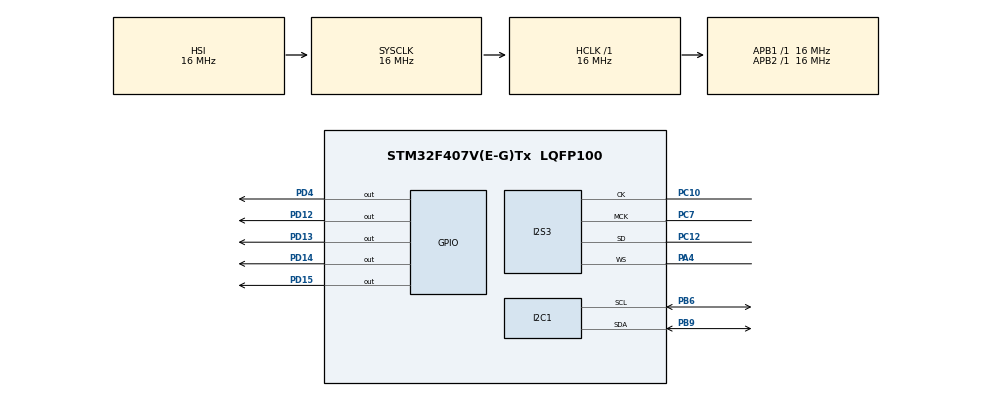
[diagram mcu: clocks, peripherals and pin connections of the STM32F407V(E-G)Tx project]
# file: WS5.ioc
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Dma.Request0=SPI3_TX
Dma.SPI3_TX.0.Direction=DMA_MEMORY_TO_PERIPH
Dma.SPI3_TX.0.FIFOMode=DMA_FIFOMODE_ENABLE
Dma.SPI3_TX.0.FIFOThreshold=DMA_FIFO_THRESHOLD_FULL
Dma.SPI3_TX.0.Instance=DMA1_Stream5
Dma.SPI3_TX.0.MemBurst=DMA_MBURST_SINGLE
Dma.SPI3_TX.0.MemDataAlignment=DMA_MDATAALIGN_HALFWORD
Dma.SPI3_TX.0.MemInc=DMA_MINC_ENABLE
Dma.SPI3_TX.0.Mode=DMA_CIRCULAR
Dma.SPI3_TX.0.PeriphBurst=DMA_PBURST_SINGLE
Dma.SPI3_TX.0.PeriphDataAlignment=DMA_PDATAALIGN_HALFWORD
Dma.SPI3_TX.0.PeriphInc=DMA_PINC_DISABLE
Dma.SPI3_TX.0.Priority=DMA_PRIORITY_LOW
I2S3.AudioFreq=I2S_AUDIOFREQ_48K
I2S3.ErrorAudioFreq=-2.34 %
I2S3.FullDuplexMode=I2S_FULLDUPLEXMODE_DISABLE
I2S3.Instance=SPI$Index
I2S3.RealAudioFreq=46.875 KHz
I2S3.VirtualMode=I2S_MODE_MASTER
Mcu.Family=STM32F4
Mcu.Name=STM32F407V(E-G)Tx
Mcu.Package=LQFP100
NVIC.DMA1_Stream5_IRQn=true\:0\:0\:false\:false\:true\:false\:true\:true
NVIC.PriorityGroup=NVIC_PRIORITYGROUP_4
PA4.Mode=Half_Duplex_Master
PA4.Signal=I2S3_WS
PB6.Mode=I2C
PB6.Signal=I2C1_SCL
PB9.Mode=I2C
PB9.Signal=I2C1_SDA
PC10.Mode=Half_Duplex_Master
PC10.Signal=I2S3_CK
PC12.Mode=Half_Duplex_Master
PC12.Signal=I2S3_SD
PC7.Mode=Master_Clock_Activated
PC7.Signal=I2S3_MCK
PD12.Signal=GPIO_Output
PD13.Signal=GPIO_Output
PD14.Signal=GPIO_Output
PD15.Signal=GPIO_Output
PD4.Signal=GPIO_Output
ProjectManager.HeapSize=0x200
ProjectManager.StackSize=0x400
ProjectManager.TargetToolchain=STM32CubeIDE
RCC.AHBFreq_Value=16000000
RCC.APB1Freq_Value=16000000
RCC.APB2Freq_Value=16000000
RCC.CortexFreq_Value=16000000
RCC.HSE_VALUE=25000000
RCC.HSI_VALUE=16000000
RCC.LSE_VALUE=32768
RCC.SYSCLKFreq_VALUE=16000000
RCC.VCOOutputFreq_Value=192000000
board=custom

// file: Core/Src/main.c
/* USER CODE BEGIN Header */
/**
  ******************************************************************************
  * @file           : main.c
  * @brief          : Main program body
  ******************************************************************************
  * @attention
  *
  * Copyright (c) 2024 STMicroelectronics.
  * All rights reserved.
  *
  * This software is licensed under terms that can be found in the LICENSE file
  * in the root directory of this software component.
  * If no LICENSE file comes with this software, it is provided AS-IS.
  *
  ******************************************************************************
  */
/* USER CODE END Header */
#include "main.h"

/* USER CODE BEGIN PTD */
typedef enum
{
	C4,
	C5,
	D5,
	E5,
	F5,
	G5,
	A5,
	B5,
	C6,
	D6,
	E6,
	F6,
	G6,
	A6,
	B6,
	C7,
	MAX_VALUE
} soundToneType;
/* USER CODE END PTD */

/* USER CODE BEGIN PD */
#define CS43L22_I2C_ADDRESS		0x94
#define I2C_TIMEOUT				10
/* USER CODE END PD */

I2C_HandleTypeDef hi2c1;

I2S_HandleTypeDef hi2s3;
DMA_HandleTypeDef hdma_spi3_tx;

/* USER CODE BEGIN PV */
int16_t dataI2S[100] = {0};
/* USER CODE END PV */

void SystemClock_Config(void);
static void MX_GPIO_Init(void);
static void MX_DMA_Init(void);
static void MX_I2C1_Init(void);
static void MX_I2S3_Init(void);

/* USER CODE BEGIN 0 */

void CS43L22_Init(void)
{
	// Enable chip
	HAL_GPIO_WritePin(GPIOD, GPIO_PIN_4, GPIO_PIN_SET);

	//
	// Initialization
	//
	uint8_t TxBuffer[2];

	TxBuffer[0] = 0x0D;
	TxBuffer[1] = 0x01;
	HAL_I2C_Master_Transmit(&hi2c1, CS43L22_I2C_ADDRESS, (uint8_t*) &TxBuffer, 2, I2C_TIMEOUT);

	TxBuffer[0] = 0x00;
	TxBuffer[1] = 0x99;
	HAL_I2C_Master_Transmit(&hi2c1, CS43L22_I2C_ADDRESS, (uint8_t*) &TxBuffer, 2, I2C_TIMEOUT);

	TxBuffer[0] = 0x47;
	TxBuffer[1] = 0x80;
	HAL_I2C_Master_Transmit(&hi2c1, CS43L22_I2C_ADDRESS, (uint8_t*) &TxBuffer, 2, I2C_TIMEOUT);

	TxBuffer[0] = 0x32;
	TxBuffer[1] = 0xFF;
	HAL_I2C_Master_Transmit(&hi2c1, CS43L22_I2C_ADDRESS, (uint8_t*) &TxBuffer, 2, I2C_TIMEOUT);

	TxBuffer[0] = 0x32;
	TxBuffer[1] = 0x7F;
	HAL_I2C_Master_Transmit(&hi2c1, CS43L22_I2C_ADDRESS, (uint8_t*) &TxBuffer, 2, I2C_TIMEOUT);

	TxBuffer[0] = 0x00;
	TxBuffer[1] = 0x00;
	HAL_I2C_Master_Transmit(&hi2c1, CS43L22_I2C_ADDRESS, (uint8_t*) &TxBuffer, 2, I2C_TIMEOUT);

	TxBuffer[0] = 0x04;
	TxBuffer[1] = 0xAF;
	HAL_I2C_Master_Transmit(&hi2c1, CS43L22_I2C_ADDRESS, (uint8_t*) &TxBuffer, 2, I2C_TIMEOUT);

	TxBuffer[0] = 0x0D;
	TxBuffer[1] = 0x70;
	HAL_I2C_Master_Transmit(&hi2c1, CS43L22_I2C_ADDRESS, (uint8_t*) &TxBuffer, 2, I2C_TIMEOUT);

	TxBuffer[0] = 0x05;
	TxBuffer[1] = 0x81;
	HAL_I2C_Master_Transmit(&hi2c1, CS43L22_I2C_ADDRESS, (uint8_t*) &TxBuffer, 2, I2C_TIMEOUT);

	TxBuffer[0] = 0x06;
	TxBuffer[1] = 0x07;
	HAL_I2C_Master_Transmit(&hi2c1, CS43L22_I2C_ADDRESS, (uint8_t*) &TxBuffer, 2, I2C_TIMEOUT);

	TxBuffer[0] = 0x0A;
	TxBuffer[1] = 0x00;
	HAL_I2C_Master_Transmit(&hi2c1, CS43L22_I2C_ADDRESS, (uint8_t*) &TxBuffer, 2, I2C_TIMEOUT);

	TxBuffer[0] = 0x27;
	TxBuffer[1] = 0x00;
	HAL_I2C_Master_Transmit(&hi2c1, CS43L22_I2C_ADDRESS, (uint8_t*) &TxBuffer, 2, I2C_TIMEOUT);

	TxBuffer[0] = 0x1A;
	TxBuffer[1] = 0x0A;
	HAL_I2C_Master_Transmit(&hi2c1, CS43L22_I2C_ADDRESS, (uint8_t*) &TxBuffer, 2, I2C_TIMEOUT);

	TxBuffer[0] = 0x1B;
	TxBuffer[1] = 0x0A;
	HAL_I2C_Master_Transmit(&hi2c1, CS43L22_I2C_ADDRESS, (uint8_t*) &TxBuffer, 2, I2C_TIMEOUT);

	TxBuffer[0] = 0x1F;
	TxBuffer[1] = 0x0F;
	HAL_I2C_Master_Transmit(&hi2c1, CS43L22_I2C_ADDRESS, (uint8_t*) &TxBuffer, 2, I2C_TIMEOUT);

	TxBuffer[0] = 0x02;
	TxBuffer[1] = 0x9E;
	HAL_I2C_Master_Transmit(&hi2c1, CS43L22_I2C_ADDRESS, (uint8_t*) &TxBuffer, 2, I2C_TIMEOUT);
}

void CS43L22_Beep(soundToneType pitch, uint32_t duration_ms)
{
	uint8_t TxBuffer[2];

	// Set volume and off time
	TxBuffer[0] = 0x1D;		// Register address
	TxBuffer[1] = 0x00;		// Value (volume and off time)
	HAL_I2C_Master_Transmit(&hi2c1, CS43L22_I2C_ADDRESS, (uint8_t*) &TxBuffer, 2, I2C_TIMEOUT);

	// Set sound frequency
	TxBuffer[0] = 0x1C;		// Register address
	switch (pitch)
	{
		case C4:
			TxBuffer[1] = 0x00; // Value (frequency and on time)
			HAL_GPIO_WritePin(GPIOD, GPIO_PIN_15, GPIO_PIN_SET);
			break;
		case C5:
			TxBuffer[1] = 0x10; // Value (frequency and on time)
			HAL_GPIO_WritePin(GPIOD, GPIO_PIN_14, GPIO_PIN_SET);
			break;
		case D5:
			TxBuffer[1] = 0x20; // Value (frequency and on time)
			HAL_GPIO_WritePin(GPIOD, GPIO_PIN_13, GPIO_PIN_SET);
			break;
		case E5:
			TxBuffer[1] = 0x30; // Value (frequency and on time)
			HAL_GPIO_WritePin(GPIOD, GPIO_PIN_12, GPIO_PIN_SET);
			break;
		case F5:
			TxBuffer[1] = 0x40; // Value (frequency and on time)
			HAL_GPIO_WritePin(GPIOD, GPIO_PIN_15, GPIO_PIN_SET);
			break;
		case G5:
			TxBuffer[1] = 0x50; // Value (frequency and on time)
			HAL_GPIO_WritePin(GPIOD, GPIO_PIN_14, GPIO_PIN_SET);
			break;
		case A5:
			TxBuffer[1] = 0x60; // Value (frequency and on time)
			HAL_GPIO_WritePin(GPIOD, GPIO_PIN_13, GPIO_PIN_SET);
			break;
		case B5:
			TxBuffer[1] = 0x70; // Value (frequency and on time)
			HAL_GPIO_WritePin(GPIOD, GPIO_PIN_12, GPIO_PIN_SET);
			break;
		case C6:
			TxBuffer[1] = 0x80; // Value (frequency and on time)
			HAL_GPIO_WritePin(GPIOD, GPIO_PIN_15, GPIO_PIN_SET);
			break;
		case D6:
			TxBuffer[1] = 0x90; // Value (frequency and on time)
			HAL_GPIO_WritePin(GPIOD, GPIO_PIN_14, GPIO_PIN_SET);
			break;
		case E6:
			TxBuffer[1] = 0xA0; // Value (frequency and on time)
			HAL_GPIO_WritePin(GPIOD, GPIO_PIN_13, GPIO_PIN_SET);
			break;
		case F6:
			TxBuffer[1] = 0xB0; // Value (frequency and on time)
			HAL_GPIO_WritePin(GPIOD, GPIO_PIN_12, GPIO_PIN_SET);
			break;
		case G6:
			TxBuffer[1] = 0xC0; // Value (frequency and on time)
			HAL_GPIO_WritePin(GPIOD, GPIO_PIN_15, GPIO_PIN_SET);
			break;
		case A6:
			TxBuffer[1] = 0xD0; // Value (frequency and on time)
			HAL_GPIO_WritePin(GPIOD, GPIO_PIN_14, GPIO_PIN_SET);
			break;
		case B6:
			TxBuffer[1] = 0xD0; // Value (frequency and on time)
			HAL_GPIO_WritePin(GPIOD, GPIO_PIN_13, GPIO_PIN_SET);
			break;
		case C7:
			TxBuffer[1] = 0xF0; // Value (frequency and on time)
			HAL_GPIO_WritePin(GPIOD, GPIO_PIN_12, GPIO_PIN_SET);
			break;
		case MAX_VALUE:
		default:
			TxBuffer[1] = 0x00;		// Value (frequency and on time)
			break;
	}
	HAL_I2C_Master_Transmit(&hi2c1, CS43L22_I2C_ADDRESS, (uint8_t*) &TxBuffer, 2, I2C_TIMEOUT);

	// Enable continuous mode (SOUND STARTED)
	TxBuffer[0] = 0x1E;		// Register address
	TxBuffer[1] = 0xC0;		// Value (beep and tone configuration)
	HAL_I2C_Master_Transmit(&hi2c1, CS43L22_I2C_ADDRESS, (uint8_t*) &TxBuffer, 2, I2C_TIMEOUT);

	// Playing...
	HAL_Delay(duration_ms);

	// Disable continuous mode (SOUND STOPED)
	TxBuffer[0] = 0x1E;		// Register address
	TxBuffer[1] = 0x00;		// Value (beep and tone configuration)
	HAL_I2C_Master_Transmit(&hi2c1, CS43L22_I2C_ADDRESS, (uint8_t*) &TxBuffer, 2, I2C_TIMEOUT);

	HAL_GPIO_WritePin(GPIOD, GPIO_PIN_12, GPIO_PIN_RESET);
	HAL_GPIO_WritePin(GPIOD, GPIO_PIN_13, GPIO_PIN_RESET);
	HAL_GPIO_WritePin(GPIOD, GPIO_PIN_14, GPIO_PIN_RESET);
	HAL_GPIO_WritePin(GPIOD, GPIO_PIN_15, GPIO_PIN_RESET);
}

/* USER CODE END 0 */

int main(void)
{

  /* MCU Configuration--------------------------------------------------------*/

  /* Reset of all peripherals, Initializes the Flash interface and the Systick. */
  HAL_Init();

  /* Configure the system clock */
  SystemClock_Config();

  /* Initialize all configured peripherals */
  MX_GPIO_Init();
  MX_DMA_Init();
  MX_I2C1_Init();
  MX_I2S3_Init();
  /* USER CODE BEGIN 2 */
  // Init DAC
  CS43L22_Init();

  // Transmit empty data
  HAL_I2S_Transmit_DMA(&hi2s3, (uint16_t *)dataI2S, 100);
  /* USER CODE END 2 */

  /* Infinite loop */
  /* USER CODE BEGIN WHILE */
  while (1)
  {
	  for (unsigned int i = 0; i < 3; i++) {
		  CS43L22_Beep(C5, 250);
		  HAL_Delay(50);

		  CS43L22_Beep(A5, 500);
		  HAL_Delay(50);

		  CS43L22_Beep(G5, 500);
		  HAL_Delay(50);

		  CS43L22_Beep(F5, 500);
		  HAL_Delay(50);

		  CS43L22_Beep(A5, 500);
		  HAL_Delay(50);

		  CS43L22_Beep(G5, 750);
		  HAL_Delay(50);

		  CS43L22_Beep(F5, 250);
		  HAL_Delay(50);

		  CS43L22_Beep(A5, 500);
		  HAL_Delay(50);

		  CS43L22_Beep(G5, 500);
		  HAL_Delay(50);

		  CS43L22_Beep(F5, 500);
		  HAL_Delay(50);

		  CS43L22_Beep(C5, 1000);
		  HAL_Delay(250);

		  CS43L22_Beep(G6, 250);
		  HAL_Delay(50);

		  CS43L22_Beep(C6, 500);
		  HAL_Delay(50);

		  CS43L22_Beep(G5, 500);
		  HAL_Delay(50);

		  CS43L22_Beep(C6, 250);
		  HAL_Delay(50);

		  CS43L22_Beep(E5, 750);
		  HAL_Delay(50);

		  CS43L22_Beep(E5, 250);
		  HAL_Delay(50);

		  CS43L22_Beep(C6, 500);
		  HAL_Delay(50);

		  CS43L22_Beep(G5, 750);
		  HAL_Delay(50);

		  CS43L22_Beep(E5, 250);
		  HAL_Delay(50);

		  CS43L22_Beep(F5, 1000);
		  HAL_Delay(50);

		  CS43L22_Beep(G5, 370);
		  HAL_Delay(50);

		  CS43L22_Beep(C6, 130);
		  HAL_Delay(50);

		  CS43L22_Beep(A5, 500);
		  HAL_Delay(50);

		  CS43L22_Beep(G5, 750);
		  HAL_Delay(50);

		  CS43L22_Beep(F5, 250);
		  HAL_Delay(50);

		  CS43L22_Beep(A5, 500);
		  HAL_Delay(50);

		  CS43L22_Beep(G5, 750);
		  HAL_Delay(50);

		  CS43L22_Beep(C6, 250);
		  HAL_Delay(50);

		  CS43L22_Beep(C6, 500);
		  HAL_Delay(50);

		  CS43L22_Beep(A5, 500);
		  HAL_Delay(50);

		  CS43L22_Beep(C6, 500);
		  HAL_Delay(50);

		  CS43L22_Beep(D6, 1000);
		  HAL_Delay(500);

		  CS43L22_Beep(A5, 250);
		  HAL_Delay(50);

		  CS43L22_Beep(B5, 500);
		  HAL_Delay(50);

		  CS43L22_Beep(F5, 750);
		  HAL_Delay(50);

		  CS43L22_Beep(D5, 250);
		  HAL_Delay(50);

		  CS43L22_Beep(E5, 1500);
		  HAL_Delay(50);

		  CS43L22_Beep(G5, 1000);
		  HAL_Delay(250);

		  CS43L22_Beep(G5, 250);
		  HAL_Delay(50);

		  CS43L22_Beep(F5, 1500);
		  HAL_Delay(1000);
	  }
	  break;
    /* USER CODE END WHILE */

  }
}

void SystemClock_Config(void)
{
  RCC_OscInitTypeDef RCC_OscInitStruct = {0};
  RCC_ClkInitTypeDef RCC_ClkInitStruct = {0};

  /** Macro to configure the PLL multiplication factor
  */
  __HAL_RCC_PLL_PLLM_CONFIG(16);

  /** Macro to configure the PLL clock source
  */
  __HAL_RCC_PLL_PLLSOURCE_CONFIG(RCC_PLLSOURCE_HSI);

  /** Configure the main internal regulator output voltage
  */
  __HAL_RCC_PWR_CLK_ENABLE();
  __HAL_PWR_VOLTAGESCALING_CONFIG(PWR_REGULATOR_VOLTAGE_SCALE1);

  /** Initializes the RCC Oscillators according to the specified parameters
  * in the RCC_OscInitTypeDef structure.
  */
  RCC_OscInitStruct.OscillatorType = RCC_OSCILLATORTYPE_HSI;
  RCC_OscInitStruct.HSIState = RCC_HSI_ON;
  RCC_OscInitStruct.HSICalibrationValue = RCC_HSICALIBRATION_DEFAULT;
  RCC_OscInitStruct.PLL.PLLState = RCC_PLL_NONE;
  RCC_OscInitStruct.PLL.PLLSource = RCC_PLLSOURCE_HSI;
  if (HAL_RCC_OscConfig(&RCC_OscInitStruct) != HAL_OK)
  {
    Error_Handler();
  }

  /** Initializes the CPU, AHB and APB buses clocks
  */
  RCC_ClkInitStruct.ClockType = RCC_CLOCKTYPE_HCLK|RCC_CLOCKTYPE_SYSCLK
                              |RCC_CLOCKTYPE_PCLK1|RCC_CLOCKTYPE_PCLK2;
  RCC_ClkInitStruct.SYSCLKSource = RCC_SYSCLKSOURCE_HSI;
  RCC_ClkInitStruct.AHBCLKDivider = RCC_SYSCLK_DIV1;
  RCC_ClkInitStruct.APB1CLKDivider = RCC_HCLK_DIV1;
  RCC_ClkInitStruct.APB2CLKDivider = RCC_HCLK_DIV1;

  if (HAL_RCC_ClockConfig(&RCC_ClkInitStruct, FLASH_LATENCY_0) != HAL_OK)
  {
    Error_Handler();
  }
}

static void MX_I2C1_Init(void)
{

  hi2c1.Instance = I2C1;
  hi2c1.Init.ClockSpeed = 100000;
  hi2c1.Init.DutyCycle = I2C_DUTYCYCLE_2;
  hi2c1.Init.OwnAddress1 = 0;
  hi2c1.Init.AddressingMode = I2C_ADDRESSINGMODE_7BIT;
  hi2c1.Init.DualAddressMode = I2C_DUALADDRESS_DISABLE;
  hi2c1.Init.OwnAddress2 = 0;
  hi2c1.Init.GeneralCallMode = I2C_GENERALCALL_DISABLE;
  hi2c1.Init.NoStretchMode = I2C_NOSTRETCH_DISABLE;
  if (HAL_I2C_Init(&hi2c1) != HAL_OK)
  {
    Error_Handler();
  }

}

static void MX_I2S3_Init(void)
{

  hi2s3.Instance = SPI3;
  hi2s3.Init.Mode = I2S_MODE_MASTER_TX;
  hi2s3.Init.Standard = I2S_STANDARD_PHILIPS;
  hi2s3.Init.DataFormat = I2S_DATAFORMAT_16B;
  hi2s3.Init.MCLKOutput = I2S_MCLKOUTPUT_ENABLE;
  hi2s3.Init.AudioFreq = I2S_AUDIOFREQ_48K;
  hi2s3.Init.CPOL = I2S_CPOL_LOW;
  hi2s3.Init.ClockSource = I2S_CLOCK_PLL;
  hi2s3.Init.FullDuplexMode = I2S_FULLDUPLEXMODE_DISABLE;
  if (HAL_I2S_Init(&hi2s3) != HAL_OK)
  {
    Error_Handler();
  }

}

static void MX_DMA_Init(void)
{

  /* DMA controller clock enable */
  __HAL_RCC_DMA1_CLK_ENABLE();

  /* DMA interrupt init */
  /* DMA1_Stream5_IRQn interrupt configuration */
  HAL_NVIC_SetPriority(DMA1_Stream5_IRQn, 0, 0);
  HAL_NVIC_EnableIRQ(DMA1_Stream5_IRQn);

}

static void MX_GPIO_Init(void)
{
  GPIO_InitTypeDef GPIO_InitStruct = {0};

  /* GPIO Ports Clock Enable */
  __HAL_RCC_GPIOA_CLK_ENABLE();
  __HAL_RCC_GPIOD_CLK_ENABLE();
  __HAL_RCC_GPIOC_CLK_ENABLE();
  __HAL_RCC_GPIOB_CLK_ENABLE();

  /*Configure GPIO pin Output Level */
  HAL_GPIO_WritePin(GPIOD, GPIO_PIN_12|GPIO_PIN_13|GPIO_PIN_14|GPIO_PIN_15
                          |GPIO_PIN_4, GPIO_PIN_RESET);

  /*Configure GPIO pins : PD12 PD13 PD14 PD15
                           PD4 */
  GPIO_InitStruct.Pin = GPIO_PIN_12|GPIO_PIN_13|GPIO_PIN_14|GPIO_PIN_15
                          |GPIO_PIN_4;
  GPIO_InitStruct.Mode = GPIO_MODE_OUTPUT_PP;
  GPIO_InitStruct.Pull = GPIO_NOPULL;
  GPIO_InitStruct.Speed = GPIO_SPEED_FREQ_LOW;
  HAL_GPIO_Init(GPIOD, &GPIO_InitStruct);

}

void Error_Handler(void)
{
  __disable_irq();
  while (1)
  {
  }
}
